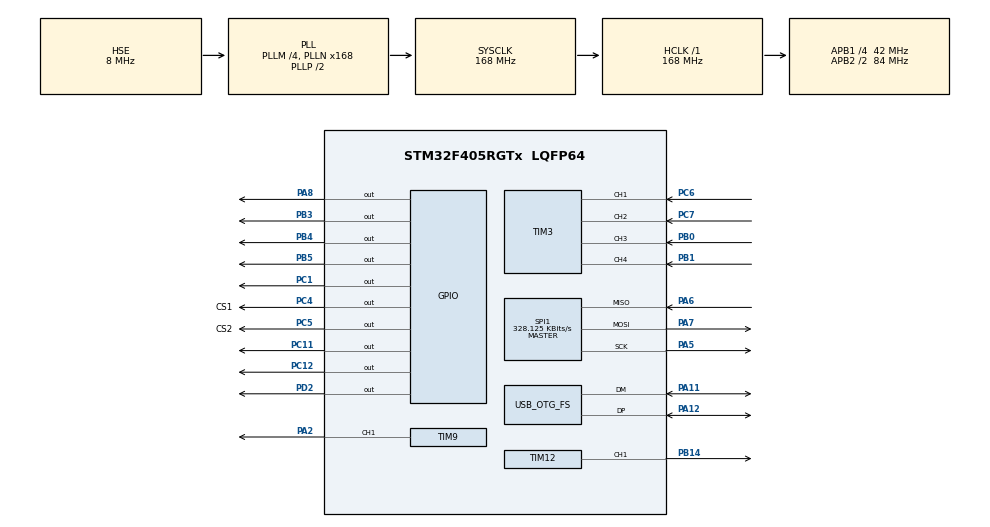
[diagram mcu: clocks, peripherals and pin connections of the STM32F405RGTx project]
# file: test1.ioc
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FREERTOS.INCLUDE_vTaskDelayUntil=1
FREERTOS.INCLUDE_xTaskGetCurrentTaskHandle=0
FREERTOS.Queues01=tim3ch1Queue,16,uint16_t,0,Dynamic,NULL,NULL
FREERTOS.Tasks01=defaultTask,0,1024,StartDefaultTask,Default,NULL,Dynamic,NULL,NULL;usbTask,-1,1024,UsbTask,Default,NULL,Dynamic,NULL,NULL
FREERTOS.configENABLE_FPU=1
FREERTOS.configUSE_TIMERS=1
Mcu.Family=STM32F4
Mcu.Name=STM32F405RGTx
Mcu.Package=LQFP64
NVIC.OTG_FS_IRQn=true\:5\:0\:false\:false\:true\:true\:true\:true\:true
NVIC.PriorityGroup=NVIC_PRIORITYGROUP_4
NVIC.TIM3_IRQn=true\:5\:0\:true\:false\:true\:true\:true\:true\:true
NVIC.TIM8_TRG_COM_TIM14_IRQn=true\:15\:0\:false\:false\:true\:false\:false\:true\:true
NVIC.TimeBase=TIM8_TRG_COM_TIM14_IRQn
NVIC.TimeBaseIP=TIM14
PA11.Mode=Device_Only
PA11.Signal=USB_OTG_FS_DM
PA12.Mode=Device_Only
PA12.Signal=USB_OTG_FS_DP
PA13.Mode=Serial_Wire
PA13.Signal=SYS_JTMS-SWDIO
PA14.Mode=Serial_Wire
PA14.Signal=SYS_JTCK-SWCLK
PA2.GPIO_PuPd=GPIO_PULLUP
PA2.GPIO_Speed=GPIO_SPEED_FREQ_VERY_HIGH
PA2.Signal=S_TIM9_CH1
PA5.Mode=Full_Duplex_Master
PA5.Signal=SPI1_SCK
PA6.Mode=Full_Duplex_Master
PA6.Signal=SPI1_MISO
PA7.Mode=Full_Duplex_Master
PA7.Signal=SPI1_MOSI
PA8.GPIO_PuPd=GPIO_PULLUP
PA8.GPIO_Speed=GPIO_SPEED_FREQ_VERY_HIGH
PA8.PinState=GPIO_PIN_SET
PA8.Signal=GPIO_Output
PB0.GPIO_ModeDefaultPP=GPIO_MODE_AF_PP
PB0.GPIO_PuPd=GPIO_PULLUP
PB0.GPIO_Speed=GPIO_SPEED_FREQ_VERY_HIGH
PB0.Signal=S_TIM3_CH3
PB1.GPIO_ModeDefaultPP=GPIO_MODE_AF_PP
PB1.GPIO_PuPd=GPIO_PULLUP
PB1.GPIO_Speed=GPIO_SPEED_FREQ_VERY_HIGH
PB1.Signal=S_TIM3_CH4
PB14.Signal=S_TIM12_CH1
PB3.GPIO_ModeDefaultOutputPP=GPIO_MODE_OUTPUT_PP
PB3.GPIO_PuPd=GPIO_PULLUP
PB3.GPIO_Speed=GPIO_SPEED_FREQ_VERY_HIGH
PB3.PinState=GPIO_PIN_SET
PB3.Signal=GPIO_Output
PB4.GPIO_ModeDefaultOutputPP=GPIO_MODE_OUTPUT_PP
PB4.GPIO_PuPd=GPIO_PULLUP
PB4.GPIO_Speed=GPIO_SPEED_FREQ_VERY_HIGH
PB4.PinState=GPIO_PIN_SET
PB4.Signal=GPIO_Output
PB5.GPIO_ModeDefaultOutputPP=GPIO_MODE_OUTPUT_PP
PB5.GPIO_PuPd=GPIO_PULLUP
PB5.GPIO_Speed=GPIO_SPEED_FREQ_VERY_HIGH
PB5.PinState=GPIO_PIN_SET
PB5.Signal=GPIO_Output
PC1.GPIO_ModeDefaultOutputPP=GPIO_MODE_OUTPUT_PP
PC1.GPIO_PuPd=GPIO_PULLUP
PC1.GPIO_Speed=GPIO_SPEED_FREQ_VERY_HIGH
PC1.PinState=GPIO_PIN_RESET
PC1.Signal=GPIO_Output
PC11.GPIO_ModeDefaultOutputPP=GPIO_MODE_OUTPUT_PP
PC11.GPIO_PuPd=GPIO_PULLUP
PC11.GPIO_Speed=GPIO_SPEED_FREQ_VERY_HIGH
PC11.PinState=GPIO_PIN_SET
PC11.Signal=GPIO_Output
PC12.GPIO_ModeDefaultOutputPP=GPIO_MODE_OUTPUT_PP
PC12.GPIO_PuPd=GPIO_PULLUP
PC12.GPIO_Speed=GPIO_SPEED_FREQ_VERY_HIGH
PC12.PinState=GPIO_PIN_SET
PC12.Signal=GPIO_Output
PC4.GPIO_Label=CS1
PC4.GPIO_ModeDefaultOutputPP=GPIO_MODE_OUTPUT_PP
PC4.GPIO_PuPd=GPIO_PULLUP
PC4.GPIO_Speed=GPIO_SPEED_FREQ_VERY_HIGH
PC4.PinState=GPIO_PIN_SET
PC4.Signal=GPIO_Output
PC5.GPIO_Label=CS2
PC5.GPIO_ModeDefaultOutputPP=GPIO_MODE_OUTPUT_PP
PC5.GPIO_PuPd=GPIO_PULLUP
PC5.GPIO_Speed=GPIO_SPEED_FREQ_VERY_HIGH
PC5.PinState=GPIO_PIN_SET
PC5.Signal=GPIO_Output
PC6.GPIO_ModeDefaultPP=GPIO_MODE_AF_PP
PC6.GPIO_PuPd=GPIO_PULLUP
PC6.GPIO_Speed=GPIO_SPEED_FREQ_VERY_HIGH
PC6.Signal=S_TIM3_CH1
PC7.GPIO_ModeDefaultPP=GPIO_MODE_AF_PP
PC7.GPIO_PuPd=GPIO_PULLUP
PC7.GPIO_Speed=GPIO_SPEED_FREQ_VERY_HIGH
PC7.Signal=S_TIM3_CH2
PD2.GPIO_ModeDefaultOutputPP=GPIO_MODE_OUTPUT_PP
PD2.GPIO_PuPd=GPIO_PULLUP
PD2.GPIO_Speed=GPIO_SPEED_FREQ_VERY_HIGH
PD2.PinState=GPIO_PIN_SET
PD2.Signal=GPIO_Output
PH0-OSC_IN.Mode=HSE-External-Oscillator
PH0-OSC_IN.Signal=RCC_OSC_IN
PH1-OSC_OUT.Mode=HSE-External-Oscillator
PH1-OSC_OUT.Signal=RCC_OSC_OUT
ProjectManager.HeapSize=0x8000
ProjectManager.StackSize=0x8000
ProjectManager.TargetToolchain=MDK-ARM V5.32
RCC.48MHZClocksFreq_Value=48000000
RCC.AHBFreq_Value=168000000
RCC.APB1CLKDivider=RCC_HCLK_DIV4
RCC.APB1Freq_Value=42000000
RCC.APB1TimFreq_Value=84000000
RCC.APB2CLKDivider=RCC_HCLK_DIV2
RCC.APB2Freq_Value=84000000
RCC.APB2TimFreq_Value=168000000
RCC.CortexFreq_Value=168000000
RCC.HCLKFreq_Value=168000000
RCC.HSE_VALUE=8000000
RCC.HSI_VALUE=16000000
RCC.LSE_VALUE=32768
RCC.PLLM=4
RCC.PLLN=168
RCC.PLLQ=7
RCC.PLLSourceVirtual=RCC_PLLSOURCE_HSE
RCC.SYSCLKFreq_VALUE=168000000
RCC.SYSCLKSource=RCC_SYSCLKSOURCE_PLLCLK
RCC.VCOOutputFreq_Value=336000000
SH.S_TIM12_CH1.0=TIM12_CH1,PWM Generation1 CH1
SH.S_TIM3_CH1.0=TIM3_CH1,Input_Capture1_from_TI1
SH.S_TIM3_CH2.0=TIM3_CH2,Input_Capture2_from_TI2
SH.S_TIM3_CH3.0=TIM3_CH3,Input_Capture3_from_TI3
SH.S_TIM3_CH4.0=TIM3_CH4,Input_Capture4_from_TI4
SH.S_TIM9_CH1.0=TIM9_CH1,PWM Generation1 CH1
SPI1.BaudRatePrescaler=SPI_BAUDRATEPRESCALER_256
SPI1.CalculateBaudRate=328.125 KBits/s
SPI1.Direction=SPI_DIRECTION_2LINES
SPI1.Mode=SPI_MODE_MASTER
SPI1.VirtualType=VM_MASTER
TIM12.AutoReloadPreload=TIM_AUTORELOAD_PRELOAD_ENABLE
TIM12.Channel-PWM\ Generation1\ CH1=TIM_CHANNEL_1
TIM12.OCPolarity_1=TIM_OCPOLARITY_LOW
TIM12.Period=9999
TIM12.Prescaler=83
TIM12.Pulse-PWM\ Generation1\ CH1=100
TIM13.Prescaler=83
TIM3.Channel-Input_Capture1_from_TI1=TIM_CHANNEL_1
TIM3.Channel-Input_Capture2_from_TI2=TIM_CHANNEL_2
TIM3.Channel-Input_Capture3_from_TI3=TIM_CHANNEL_3
TIM3.Channel-Input_Capture4_from_TI4=TIM_CHANNEL_4
TIM3.ICFilter_CH1=10
TIM3.ICFilter_CH2=4
TIM3.ICFilter_CH3=4
TIM3.ICFilter_CH4=4
TIM3.ICPolarity_CH1=TIM_INPUTCHANNELPOLARITY_FALLING
TIM3.ICPolarity_CH2=TIM_INPUTCHANNELPOLARITY_FALLING
TIM3.ICPolarity_CH3=TIM_INPUTCHANNELPOLARITY_FALLING
TIM3.ICPolarity_CH4=TIM_INPUTCHANNELPOLARITY_FALLING
TIM9.AutoReloadPreload=TIM_AUTORELOAD_PRELOAD_ENABLE
TIM9.Channel-PWM\ Generation1\ CH1=TIM_CHANNEL_1
TIM9.OCPolarity_1=TIM_OCPOLARITY_LOW
TIM9.Period=999
TIM9.Prescaler=2
USB_DEVICE.CLASS_NAME_FS=CDC
USB_DEVICE.VirtualMode-CDC_FS=Cdc
USB_DEVICE.VirtualModeFS=Cdc_FS
USB_OTG_FS.VirtualMode=Device_Only
VP_FREERTOS_VS_CMSIS_V1.Mode=CMSIS_V1
VP_SYS_VS_tim14.Mode=TIM14
VP_TIM13_VS_ClockSourceINT.Mode=Enable_Timer
VP_TIM9_VS_ClockSourceINT.Mode=Internal
VP_USB_DEVICE_VS_USB_DEVICE_CDC_FS.Mode=CDC_FS
board=custom

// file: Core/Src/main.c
/* USER CODE BEGIN Header */
/**
  ******************************************************************************
  * @file           : main.c
  * @brief          : Main program body
  ******************************************************************************
  * @attention
  *
  * Copyright (c) 2024 STMicroelectronics.
  * All rights reserved.
  *
  * This software is licensed under terms that can be found in the LICENSE file
  * in the root directory of this software component.
  * If no LICENSE file comes with this software, it is provided AS-IS.
  *
  ******************************************************************************
  */
/* USER CODE END Header */
#include "main.h"
#include "cmsis_os.h"
#include "spi.h"
#include "tim.h"
#include "usb_device.h"
#include "gpio.h"

void SystemClock_Config(void);
void MX_FREERTOS_Init(void);

/* USER CODE BEGIN 0 */

/*
 普通定时器实现us延时
*/
void user_delaynus_tim(uint32_t nus)
{

 uint16_t  differ = 0xffff-nus-5;
 //设置定时器13的技术初始值
  __HAL_TIM_SetCounter(&htim13,differ);
  //开启定时器
  HAL_TIM_Base_Start(&htim13);

  while( differ<0xffff-5)
 {
  differ = __HAL_TIM_GetCounter(&htim13);
 };
 //关闭定时器
  HAL_TIM_Base_Stop(&htim13);

}

/* USER CODE END 0 */

int main(void)
{

  /* MCU Configuration--------------------------------------------------------*/

  /* Reset of all peripherals, Initializes the Flash interface and the Systick. */
  HAL_Init();

  /* Configure the system clock */
  SystemClock_Config();

  /* Initialize all configured peripherals */
  MX_GPIO_Init();
  MX_SPI1_Init();
  MX_TIM13_Init();
  MX_TIM9_Init();
  MX_TIM3_Init();
  MX_TIM12_Init();

  /* Call init function for freertos objects (in freertos.c) */
  MX_FREERTOS_Init();

  /* Start scheduler */
  osKernelStart();

  /* We should never get here as control is now taken by the scheduler */
  /* Infinite loop */
  /* USER CODE BEGIN WHILE */

  while (1)
  {
//		HAL_GPIO_TogglePin(GPIOA,GPIO_PIN_8);
//		HAL_Delay(100);
//
//		HAL_GPIO_TogglePin(GPIOB,GPIO_PIN_3);
//		HAL_GPIO_TogglePin(GPIOB,GPIO_PIN_4);
//		HAL_GPIO_TogglePin(GPIOB,GPIO_PIN_5);
//		HAL_GPIO_TogglePin(GPIOB,GPIO_PIN_6);
//		HAL_GPIO_TogglePin(GPIOB,GPIO_PIN_7);
//		HAL_GPIO_TogglePin(GPIOB,GPIO_PIN_8);
//		HAL_GPIO_TogglePin(GPIOB,GPIO_PIN_9);
//		HAL_GPIO_TogglePin(GPIOD,GPIO_PIN_2);
//		HAL_GPIO_TogglePin(GPIOC,GPIO_PIN_11);
//		HAL_GPIO_TogglePin(GPIOC,GPIO_PIN_12);
//
//		HAL_Delay(100);

    /* USER CODE END WHILE */

  }
}

void SystemClock_Config(void)
{
  RCC_OscInitTypeDef RCC_OscInitStruct = {0};
  RCC_ClkInitTypeDef RCC_ClkInitStruct = {0};

  /** Configure the main internal regulator output voltage
  */
  __HAL_RCC_PWR_CLK_ENABLE();
  __HAL_PWR_VOLTAGESCALING_CONFIG(PWR_REGULATOR_VOLTAGE_SCALE1);

  /** Initializes the RCC Oscillators according to the specified parameters
  * in the RCC_OscInitTypeDef structure.
  */
  RCC_OscInitStruct.OscillatorType = RCC_OSCILLATORTYPE_HSE;
  RCC_OscInitStruct.HSEState = RCC_HSE_ON;
  RCC_OscInitStruct.PLL.PLLState = RCC_PLL_ON;
  RCC_OscInitStruct.PLL.PLLSource = RCC_PLLSOURCE_HSE;
  RCC_OscInitStruct.PLL.PLLM = 4;
  RCC_OscInitStruct.PLL.PLLN = 168;
  RCC_OscInitStruct.PLL.PLLP = RCC_PLLP_DIV2;
  RCC_OscInitStruct.PLL.PLLQ = 7;
  if (HAL_RCC_OscConfig(&RCC_OscInitStruct) != HAL_OK)
  {
    Error_Handler();
  }

  /** Initializes the CPU, AHB and APB buses clocks
  */
  RCC_ClkInitStruct.ClockType = RCC_CLOCKTYPE_HCLK|RCC_CLOCKTYPE_SYSCLK
                              |RCC_CLOCKTYPE_PCLK1|RCC_CLOCKTYPE_PCLK2;
  RCC_ClkInitStruct.SYSCLKSource = RCC_SYSCLKSOURCE_PLLCLK;
  RCC_ClkInitStruct.AHBCLKDivider = RCC_SYSCLK_DIV1;
  RCC_ClkInitStruct.APB1CLKDivider = RCC_HCLK_DIV4;
  RCC_ClkInitStruct.APB2CLKDivider = RCC_HCLK_DIV2;

  if (HAL_RCC_ClockConfig(&RCC_ClkInitStruct, FLASH_LATENCY_5) != HAL_OK)
  {
    Error_Handler();
  }
}

void HAL_TIM_PeriodElapsedCallback(TIM_HandleTypeDef *htim)
{
  /* USER CODE BEGIN Callback 0 */
	if (htim->Instance == TIM3)
	{
		Timer3_ch1_Cap.OverflowCount++;
	}
  /* USER CODE END Callback 0 */
  if (htim->Instance == TIM14) {
    HAL_IncTick();
  }
}

void Error_Handler(void)
{
  __disable_irq();
  while (1)
  {
  }
}

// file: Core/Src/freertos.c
/* USER CODE BEGIN Header */
/**
  ******************************************************************************
  * File Name          : freertos.c
  * Description        : Code for freertos applications
  ******************************************************************************
  * @attention
  *
  * Copyright (c) 2024 STMicroelectronics.
  * All rights reserved.
  *
  * This software is licensed under terms that can be found in the LICENSE file
  * in the root directory of this software component.
  * If no LICENSE file comes with this software, it is provided AS-IS.
  *
  ******************************************************************************
  */
/* USER CODE END Header */

#include "FreeRTOS.h"
#include "task.h"
#include "main.h"
#include "cmsis_os.h"

/* USER CODE BEGIN Includes */
#include <string.h>
/* USER CODE END Includes */

osThreadId defaultTaskHandle;
osThreadId usbTaskHandle;
osMessageQId tim3ch1QueueHandle;

/* USER CODE BEGIN FunctionPrototypes */
void AD5206_SetResistance1(uint8_t index, uint8_t channel, uint8_t resistance);
/* USER CODE END FunctionPrototypes */

void StartDefaultTask(void const * argument);
void UsbTask(void const * argument);

extern void MX_USB_DEVICE_Init(void);
void MX_FREERTOS_Init(void); /* (MISRA C 2004 rule 8.1) */

/* GetIdleTaskMemory prototype (linked to static allocation support) */
void vApplicationGetIdleTaskMemory( StaticTask_t **ppxIdleTaskTCBBuffer, StackType_t **ppxIdleTaskStackBuffer, uint32_t *pulIdleTaskStackSize );

/* GetTimerTaskMemory prototype (linked to static allocation support) */
void vApplicationGetTimerTaskMemory( StaticTask_t **ppxTimerTaskTCBBuffer, StackType_t **ppxTimerTaskStackBuffer, uint32_t *pulTimerTaskStackSize );

/* USER CODE BEGIN GET_IDLE_TASK_MEMORY */
static StaticTask_t xIdleTaskTCBBuffer;
static StackType_t xIdleStack[configMINIMAL_STACK_SIZE];

void vApplicationGetIdleTaskMemory( StaticTask_t **ppxIdleTaskTCBBuffer, StackType_t **ppxIdleTaskStackBuffer, uint32_t *pulIdleTaskStackSize )
{
  *ppxIdleTaskTCBBuffer = &xIdleTaskTCBBuffer;
  *ppxIdleTaskStackBuffer = &xIdleStack[0];
  *pulIdleTaskStackSize = configMINIMAL_STACK_SIZE;
  /* place for user code */
}
/* USER CODE END GET_IDLE_TASK_MEMORY */

/* USER CODE BEGIN GET_TIMER_TASK_MEMORY */
static StaticTask_t xTimerTaskTCBBuffer;
static StackType_t xTimerStack[configTIMER_TASK_STACK_DEPTH];

void vApplicationGetTimerTaskMemory( StaticTask_t **ppxTimerTaskTCBBuffer, StackType_t **ppxTimerTaskStackBuffer, uint32_t *pulTimerTaskStackSize )
{
  *ppxTimerTaskTCBBuffer = &xTimerTaskTCBBuffer;
  *ppxTimerTaskStackBuffer = &xTimerStack[0];
  *pulTimerTaskStackSize = configTIMER_TASK_STACK_DEPTH;
  /* place for user code */
}
/* USER CODE END GET_TIMER_TASK_MEMORY */

void MX_FREERTOS_Init(void) {

  /* Create the queue(s) */
  /* definition and creation of tim3ch1Queue */
  osMessageQDef(tim3ch1Queue, 16, uint16_t);
  tim3ch1QueueHandle = osMessageCreate(osMessageQ(tim3ch1Queue), NULL);

  /* Create the thread(s) */
  /* definition and creation of defaultTask */
  osThreadDef(defaultTask, StartDefaultTask, osPriorityNormal, 0, 1024);
  defaultTaskHandle = osThreadCreate(osThread(defaultTask), NULL);

  /* definition and creation of usbTask */
  osThreadDef(usbTask, UsbTask, osPriorityBelowNormal, 0, 1024);
  usbTaskHandle = osThreadCreate(osThread(usbTask), NULL);

}

/* USER CODE BEGIN Header_StartDefaultTask */
/**
  * @brief  Function implementing the defaultTask thread.
  * @param  argument: Not used
  * @retval None
  */
Tim_CaptureTypeDef Timer3_ch1_Cap;
/* USER CODE END Header_StartDefaultTask */
void StartDefaultTask(void const * argument)
{
  /* init code for USB_DEVICE */
  MX_USB_DEVICE_Init();
  /* USER CODE BEGIN StartDefaultTask */
	HAL_TIM_PWM_Start(&htim9,TIM_CHANNEL_1);
	HAL_TIM_PWM_Start(&htim12,TIM_CHANNEL_1);
	htim12.Instance->CCR1 = 2;//Vramp2

	//Prescaler-Period-CCR-wave_time-resistance    100pf
	//base resistance :  3k3   2.4us latency
	//167-19-8-6us-255(10.4kOm)
	//33-99-24-2.6us-128(5.2kOm)
	//33-99-18-1.4us-64(2.6kOm)
	//2-999-168-700ns-32(1.3kOm)   release time~=100ns
	//base resistance :  820 Om   1.6us latency
	//base resistance :  390 Om   1.35us latency
	//2-999-112-700ns-32(1.3kOm)   release time~=40ns

	//change the NPN transistor  :2SC3356
	//Prescaler-Period-CCR-wave_time-resistance    100pf
	//base resistance :  390 Om   50ns latency
	//2-999-45-700ns-32(1.3kOm)   release time~=40ns
	//2-999-100-1.7us-70(2843.75Om)   release time=ns
	//2-999-100-1.7us-200(8125Om)   release time=ns
	htim9.Instance->CCR1 = 260;//Vramp2

	uint8_t i=0;
	for(i=0;i<6;i++)
	{
		AD5206_SetResistance1(0, i, 200);
	}

	AD5206_SetResistance1(0, 4, 9);//Vramp1  full range:10.4kOm  step:40.625Om       80(3.25kOm)
	AD5206_SetResistance1(0, 5, 200);//Vramp2

	osDelay(100);

	HAL_TIM_Base_Start_IT(&htim3);
	__HAL_TIM_SET_CAPTUREPOLARITY(&htim3, TIM_CHANNEL_1, TIM_ICPOLARITY_FALLING);
	HAL_TIM_IC_Start_IT(&htim3, TIM_CHANNEL_1);	//启动输入捕获       或者: __HAL_TIM_ENABLE(&htim5);

  /* Infinite loop */
	for(;;)
	{
		//led
		GPIOA->BSRR = GPIO_BSRR_BS8;//high
		osDelay(100);
		GPIOA->BSRR = GPIO_BSRR_BR8;//low   charge
		osDelay(100);

//		//Vramp1
//		GPIOC->BSRR = GPIO_BSRR_BS1;//high
//		osDelay(100);
//		GPIOC->BSRR = GPIO_BSRR_BR1;//low   charge
//		osDelay(100);//GPIO  71us-80(3.25kOm)   20us-20(812.5Om)    10us-9(365.625Om)
	}
  /* USER CODE END StartDefaultTask */
}

void UsbTask(void const * argument)
{
  /* USER CODE BEGIN UsbTask */
	long long usb_time=0;
	char my_TxBuf[512];//小心不要超过任务栈大小
	uint32_t my_RxLength=0;
	uint8_t USBD_Result=0;

	UBaseType_t Queue_data_num=0;
	osEvent event;
  /* Infinite loop */
	for(;;)
	{
		Queue_data_num = uxQueueMessagesWaiting(tim3ch1QueueHandle);
		event=osMessageGet(tim3ch1QueueHandle,1);//osWaitForever
		if(osEventMessage==event.status)
		{
		sprintf(my_TxBuf,"event.value:%d\r\n",event.value);
//		my_RxLength=strlen(my_TxBuf);
//		USBD_Result=CDC_Transmit_FS(my_TxBuf, my_RxLength);
//		if(USBD_Result==0)usb_time++;
		}
		osDelay(100);
	}
  /* USER CODE END UsbTask */
}

/* USER CODE BEGIN Application */
void HAL_TIM_IC_CaptureCallback(TIM_HandleTypeDef *htim)
{
	osEvent xReturn[10];
	if(TIM3 == htim->Instance)
	{
		switch(Timer3_ch1_Cap.capture_Cnt){
			case 0:
				Timer3_ch1_Cap.capture_Buf[0] = HAL_TIM_ReadCapturedValue(&htim3,TIM_CHANNEL_1);//获取当前的捕获值.
				Timer3_ch1_Cap.OverflowCount=0;
				__HAL_TIM_SET_CAPTUREPOLARITY(&htim3,TIM_CHANNEL_1,TIM_INPUTCHANNELPOLARITY_RISING);  //设置为下降沿捕获
				Timer3_ch1_Cap.capture_Cnt=1;
				break;
			case 1:
				Timer3_ch1_Cap.capture_Buf[1] = HAL_TIM_ReadCapturedValue(&htim3,TIM_CHANNEL_1);//获取当前的捕获值.
				Timer3_ch1_Cap.low_time = Timer3_ch1_Cap.capture_Buf[1] - Timer3_ch1_Cap.capture_Buf[0] + (Timer3_ch1_Cap.OverflowCount << 16 );    //高电平时间
				__HAL_TIM_SET_CAPTUREPOLARITY(&htim3, TIM_CHANNEL_1, TIM_ICPOLARITY_FALLING);
				Timer3_ch1_Cap.capture_Cnt=0;
				xReturn[0].status=osMessagePut(tim3ch1QueueHandle,(uint16_t)Timer3_ch1_Cap.low_time,0);
				//	if(osOK!=xReturn.status)
				//	{
				//		while(1);
				////		printf("send fail\n");
				//	}
		}
	}

}
// 设置AD5206的电阻值
void AD5206_SetResistance1(uint8_t index, uint8_t channel, uint8_t resistance) {
		uint8_t spi_data[2]={0x00,10};

    // 确保通道和电阻值在有效范围内
    if (channel > 5) return; // AD5206有6个通道，通道号从0到5
    if (resistance > 255) return; // 电阻值应在0到255之间
		if (index!=0 && index!=1) return;

		if(index==0)
			HAL_GPIO_WritePin(GPIOC,GPIO_PIN_4,0);
		else if(index==1)
			HAL_GPIO_WritePin(GPIOC,GPIO_PIN_5,0);

		spi_data[0]=channel;
		spi_data[1]=resistance;

		HAL_SPI_Transmit(&hspi1,spi_data,2,0xffff);
    if(index==0)
			HAL_GPIO_WritePin(GPIOC,GPIO_PIN_4,1);
		else if(index==1)
			HAL_GPIO_WritePin(GPIOC,GPIO_PIN_5,1);
}
/* USER CODE END Application */
